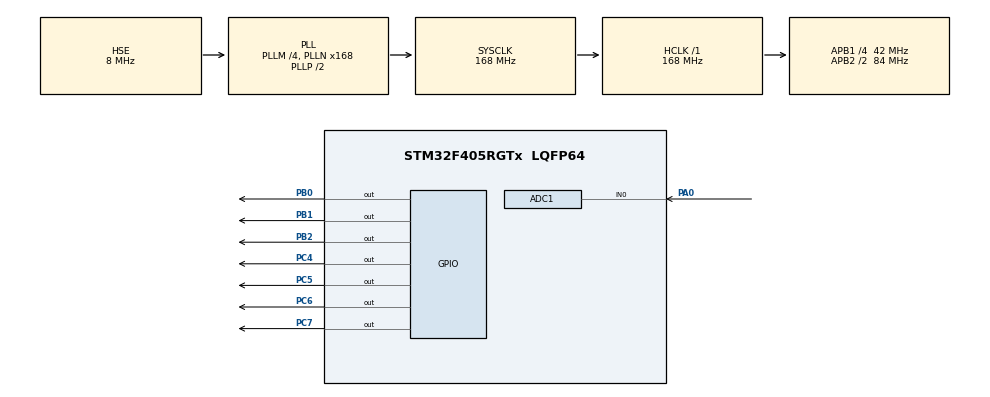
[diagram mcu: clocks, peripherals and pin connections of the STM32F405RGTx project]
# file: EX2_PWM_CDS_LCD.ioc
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ADC1.Channel-0\#ChannelRegularConversion=ADC_CHANNEL_0
ADC1.ContinuousConvMode=ENABLE
ADC1.NbrOfConversionFlag=1
ADC1.Rank-0\#ChannelRegularConversion=1
ADC1.SamplingTime-0\#ChannelRegularConversion=ADC_SAMPLETIME_3CYCLES
ADC1.master=1
Mcu.Family=STM32F4
Mcu.Name=STM32F405RGTx
Mcu.Package=LQFP64
NVIC.PriorityGroup=NVIC_PRIORITYGROUP_4
PA0-WKUP.Signal=ADCx_IN0
PA13.Mode=Serial_Wire
PA13.Signal=SYS_JTMS-SWDIO
PA14.Mode=Serial_Wire
PA14.Signal=SYS_JTCK-SWCLK
PB0.Signal=GPIO_Output
PB1.Signal=GPIO_Output
PB2.Signal=GPIO_Output
PC4.Signal=GPIO_Output
PC5.Signal=GPIO_Output
PC6.Signal=GPIO_Output
PC7.Signal=GPIO_Output
PH0-OSC_IN.Mode=HSE-External-Oscillator
PH0-OSC_IN.Signal=RCC_OSC_IN
PH1-OSC_OUT.Mode=HSE-External-Oscillator
PH1-OSC_OUT.Signal=RCC_OSC_OUT
ProjectManager.HeapSize=0x200
ProjectManager.StackSize=0x400
ProjectManager.TargetToolchain=EWARM V8.32
RCC.48MHZClocksFreq_Value=84000000
RCC.AHBFreq_Value=168000000
RCC.APB1CLKDivider=RCC_HCLK_DIV4
RCC.APB1Freq_Value=42000000
RCC.APB1TimFreq_Value=84000000
RCC.APB2CLKDivider=RCC_HCLK_DIV2
RCC.APB2Freq_Value=84000000
RCC.APB2TimFreq_Value=168000000
RCC.CortexFreq_Value=168000000
RCC.HCLKFreq_Value=168000000
RCC.HSE_VALUE=8000000
RCC.HSI_VALUE=16000000
RCC.LSE_VALUE=32768
RCC.PLLM=4
RCC.PLLN=168
RCC.PLLSourceVirtual=RCC_PLLSOURCE_HSE
RCC.SYSCLKFreq_VALUE=168000000
RCC.SYSCLKSource=RCC_SYSCLKSOURCE_PLLCLK
RCC.VCOOutputFreq_Value=336000000
SH.ADCx_IN0.0=ADC1_IN0,IN0
board=custom

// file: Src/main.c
/* USER CODE BEGIN Header */
/**
  ******************************************************************************
  * @file           : main.c
  * @brief          : Main program body
  ******************************************************************************
  * @attention
  *
  * <h2><center>&copy; Copyright (c) 2020 STMicroelectronics.
  * All rights reserved.</center></h2>
  *
  * This software component is licensed by ST under BSD 3-Clause license,
  * the "License"; You may not use this file except in compliance with the
  * License. You may obtain a copy of the License at:
  *                        opensource.org/licenses/BSD-3-Clause
  *
  ******************************************************************************
  */
/* USER CODE END Header */

#include "main.h"
#include "adc.h"
#include "gpio.h"

/* USER CODE BEGIN Includes */
#include "stdio.h"
#include "lcd.h"

/* USER CODE END Includes */

/* USER CODE BEGIN PV */
uint16_t adcData = 0;
char str[10];
/* USER CODE END PV */

void SystemClock_Config(void);

int main(void)
{

  /* MCU Configuration--------------------------------------------------------*/

  /* Reset of all peripherals, Initializes the Flash interface and the Systick. */
  HAL_Init();

  /* Configure the system clock */
  SystemClock_Config();

  /* Initialize all configured peripherals */
  MX_GPIO_Init();
  MX_ADC1_Init();
  /* USER CODE BEGIN 2 */
  lcdInit();
  lcdGotoXY(0, 0);
  /* USER CODE END 2 */

  /* Infinite loop */
  /* USER CODE BEGIN WHILE */
  while (1)
  {
    lcdClear();
    lcdGotoXY(0,0);
    lcdPrintData("ADC POLLTEST", 12);
    HAL_ADC_Start(&hadc1);
    HAL_ADC_PollForConversion(&hadc1, 10);
    adcData = HAL_ADC_GetValue(&hadc1);
    sprintf(str, "ADC : %d", adcData);
    lcdGotoXY(0, 1);
    lcdPrint(str);
    HAL_Delay(500);
    /* USER CODE END WHILE */

  }
}

void SystemClock_Config(void)
{
  RCC_OscInitTypeDef RCC_OscInitStruct = {0};
  RCC_ClkInitTypeDef RCC_ClkInitStruct = {0};

  /** Configure the main internal regulator output voltage
  */
  __HAL_RCC_PWR_CLK_ENABLE();
  __HAL_PWR_VOLTAGESCALING_CONFIG(PWR_REGULATOR_VOLTAGE_SCALE1);
  /** Initializes the CPU, AHB and APB busses clocks
  */
  RCC_OscInitStruct.OscillatorType = RCC_OSCILLATORTYPE_HSE;
  RCC_OscInitStruct.HSEState = RCC_HSE_ON;
  RCC_OscInitStruct.PLL.PLLState = RCC_PLL_ON;
  RCC_OscInitStruct.PLL.PLLSource = RCC_PLLSOURCE_HSE;
  RCC_OscInitStruct.PLL.PLLM = 4;
  RCC_OscInitStruct.PLL.PLLN = 168;
  RCC_OscInitStruct.PLL.PLLP = RCC_PLLP_DIV2;
  RCC_OscInitStruct.PLL.PLLQ = 4;
  if (HAL_RCC_OscConfig(&RCC_OscInitStruct) != HAL_OK)
  {
    Error_Handler();
  }
  /** Initializes the CPU, AHB and APB busses clocks
  */
  RCC_ClkInitStruct.ClockType = RCC_CLOCKTYPE_HCLK|RCC_CLOCKTYPE_SYSCLK
                              |RCC_CLOCKTYPE_PCLK1|RCC_CLOCKTYPE_PCLK2;
  RCC_ClkInitStruct.SYSCLKSource = RCC_SYSCLKSOURCE_PLLCLK;
  RCC_ClkInitStruct.AHBCLKDivider = RCC_SYSCLK_DIV1;
  RCC_ClkInitStruct.APB1CLKDivider = RCC_HCLK_DIV4;
  RCC_ClkInitStruct.APB2CLKDivider = RCC_HCLK_DIV2;

  if (HAL_RCC_ClockConfig(&RCC_ClkInitStruct, FLASH_LATENCY_5) != HAL_OK)
  {
    Error_Handler();
  }
}

void Error_Handler(void)
{
}

/************************ (C) COPYRIGHT STMicroelectronics *****END OF FILE****/
